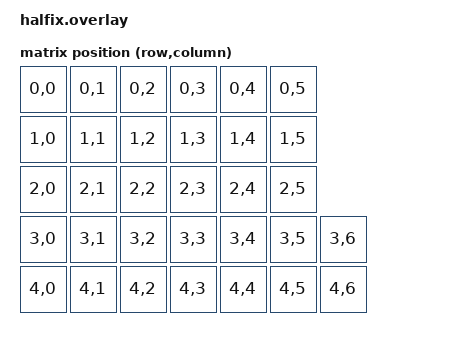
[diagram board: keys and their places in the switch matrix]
/*
 * Copyright (c) 2020 The ZMK Contributors
 *
 * SPDX-License-Identifier: MIT
 */

#include <dt-bindings/zmk/matrix_transform.h>
#include <physical_layouts.dtsi>

#include "../felix/felix_common.dtsi"
#include "../felix/felix_left_cols.dtsi"

/*
 * Halfix: a left Felix PCB as a standalone keyboard. The two extra keys sit in the
 * right-most (inner) column, matrix column 6.
 *
 * | SW1  | SW2  | SW3  | SW4  | SW5  | SW6  |
 * | SW7  | SW8  | SW9  | SW10 | SW11 | SW12 |
 * | SW13 | SW14 | SW15 | SW16 | SW17 | SW18 |
 * | SW19 | SW20 | SW21 | SW22 | SW23 | SW24 | SW25 |
 * | SW26 | SW27 | SW28 | SW29 | SW30 | SW31 | SW32 |
 */

/ {
    chosen {
        zmk,physical-layout = &halfix_layout;
    };

    halfix_transform: keymap_transform_0 {
        compatible = "zmk,matrix-transform";
        columns = <7>;
        rows = <5>;
        map = <
RC(0,0) RC(0,1) RC(0,2) RC(0,3) RC(0,4) RC(0,5)
RC(1,0) RC(1,1) RC(1,2) RC(1,3) RC(1,4) RC(1,5)
RC(2,0) RC(2,1) RC(2,2) RC(2,3) RC(2,4) RC(2,5)
RC(3,0) RC(3,1) RC(3,2) RC(3,3) RC(3,4) RC(3,5) RC(3,6)
RC(4,0) RC(4,1) RC(4,2) RC(4,3) RC(4,4) RC(4,5) RC(4,6)
        >;
    };

    halfix_layout: halfix_layout {
        compatible = "zmk,physical-layout";
        display-name = "Halfix";
        kscan = <&kscan0>;
        transform = <&halfix_transform>;

        keys  //                     w   h    x    y     rot    rx    ry
        = <&key_physical_attrs 100 100    0    0       0     0     0>
        , <&key_physical_attrs 100 100  100    0       0     0     0>
        , <&key_physical_attrs 100 100  200    0       0     0     0>
        , <&key_physical_attrs 100 100  300    0       0     0     0>
        , <&key_physical_attrs 100 100  400    0       0     0     0>
        , <&key_physical_attrs 100 100  500    0       0     0     0>
        , <&key_physical_attrs 100 100    0  100       0     0     0>
        , <&key_physical_attrs 100 100  100  100       0     0     0>
        , <&key_physical_attrs 100 100  200  100       0     0     0>
        , <&key_physical_attrs 100 100  300  100       0     0     0>
        , <&key_physical_attrs 100 100  400  100       0     0     0>
        , <&key_physical_attrs 100 100  500  100       0     0     0>
        , <&key_physical_attrs 100 100    0  200       0     0     0>
        , <&key_physical_attrs 100 100  100  200       0     0     0>
        , <&key_physical_attrs 100 100  200  200       0     0     0>
        , <&key_physical_attrs 100 100  300  200       0     0     0>
        , <&key_physical_attrs 100 100  400  200       0     0     0>
        , <&key_physical_attrs 100 100  500  200       0     0     0>
        , <&key_physical_attrs 100 100    0  300       0     0     0>
        , <&key_physical_attrs 100 100  100  300       0     0     0>
        , <&key_physical_attrs 100 100  200  300       0     0     0>
        , <&key_physical_attrs 100 100  300  300       0     0     0>
        , <&key_physical_attrs 100 100  400  300       0     0     0>
        , <&key_physical_attrs 100 100  500  300       0     0     0>
        , <&key_physical_attrs 100 100  600  300       0     0     0>
        , <&key_physical_attrs 100 100    0  400       0     0     0>
        , <&key_physical_attrs 100 100  100  400       0     0     0>
        , <&key_physical_attrs 100 100  200  400       0     0     0>
        , <&key_physical_attrs 100 100  300  400       0     0     0>
        , <&key_physical_attrs 100 100  400  400       0     0     0>
        , <&key_physical_attrs 100 100  500  400       0     0     0>
        , <&key_physical_attrs 100 100  600  400       0     0     0>
            ;
    };
};
